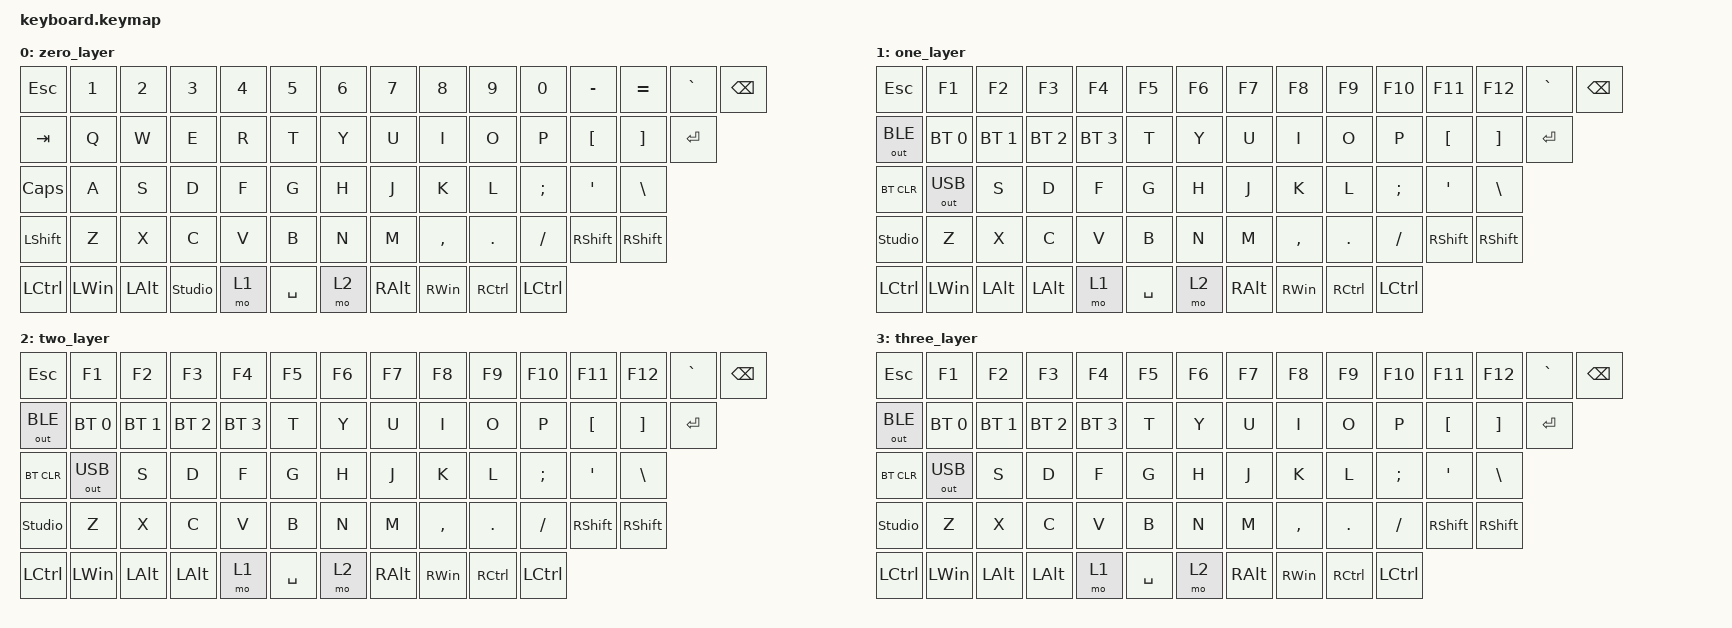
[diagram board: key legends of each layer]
#include <behaviors.dtsi>
#include <dt-bindings/zmk/keys.h>
#include <dt-bindings/zmk/bt.h>
#include <dt-bindings/zmk/outputs.h>
#include <dt-bindings/zmk/rgb.h>
#include <dt-bindings/zmk/ext_power.h>

#define HYPER(key) LS(LC(LA(LG(key))))
#define MEH(key)   LS(LC(LA(key)))

&sl {
release-after-ms = <5000>;
};


&kscan0 {
debounce-press-ms = <30>;
debounce-release-ms = <30>;
};
&soft_off {
    hold-time-ms = <5000>; // Only turn off it the key is held for 5 seconds or longer.
};
/ {
    keymap {
        compatible = "zmk,keymap";
        zero_layer {
            bindings = <
                &kp ESC   &kp N1   &kp N2   &kp N3          &kp N4 &kp N5   &kp N6    &kp N7   &kp N8    &kp N9    &kp N0    &kp MINUS  &kp EQUAL &kp GRAVE &kp BSPC
                &kp TAB   &kp Q    &kp W    &kp E           &kp R  &kp T    &kp Y     &kp U    &kp I     &kp O     &kp P     &kp LBKT   &kp RBKT  &kp RET
                &kp CAPS  &kp A    &kp S    &kp D           &kp F  &kp G    &kp H     &kp J    &kp K     &kp L     &kp SEMI  &kp SQT    &kp BSLH
                &kp LSHFT &kp Z    &kp X    &kp C           &kp V  &kp B    &kp N     &kp M    &kp COMMA &kp DOT   &kp FSLH  &kp RSHFT  &kp RSHFT
                &kp LCTRL &kp LWIN &kp LALT &studio_unlock  &mo 1 &kp SPACE &mo 2     &kp RALT &kp RWIN  &kp RCTRL &kp LCTRL
            >;
        };
        one_layer {
            bindings = <
                &kp ESC   &kp F1   &kp F2   &kp F3    &kp F4 &kp F5   &kp F6    &kp F7   &kp F8    &kp F9    &kp F10    &kp F11  &kp F12 &kp GRAVE &kp BSPC
                &out OUT_BLE   &bt BT_SEL 0 &bt BT_SEL 1 &bt BT_SEL 2 &bt BT_SEL 3  &kp T    &kp Y     &kp U    &kp I     &kp O     &kp P     &kp LBKT   &kp RBKT  &kp RET
                &bt BT_CLR  &out OUT_USB    &kp S    &kp D     &kp F  &kp G    &kp H     &kp J    &kp K     &kp L     &kp SEMI  &kp SQT    &kp BSLH
                &studio_unlock &kp Z    &kp X    &kp C     &kp V  &kp B    &kp N     &kp M    &kp COMMA &kp DOT   &kp FSLH  &kp RSHFT  &kp RSHFT
                &kp LCTRL &kp LWIN &kp LALT &kp LALT  &mo 1 &kp SPACE &mo 2     &kp RALT &kp RWIN  &kp RCTRL &kp LCTRL 
            >;
        };
        two_layer {
            bindings = <
                &kp ESC   &kp F1   &kp F2   &kp F3    &kp F4 &kp F5   &kp F6    &kp F7   &kp F8    &kp F9    &kp F10    &kp F11  &kp F12 &kp GRAVE &kp BSPC
                &out OUT_BLE   &bt BT_SEL 0 &bt BT_SEL 1 &bt BT_SEL 2 &bt BT_SEL 3  &kp T    &kp Y     &kp U    &kp I     &kp O     &kp P     &kp LBKT   &kp RBKT  &kp RET
                &bt BT_CLR  &out OUT_USB    &kp S    &kp D     &kp F  &kp G    &kp H     &kp J    &kp K     &kp L     &kp SEMI  &kp SQT    &kp BSLH
                &studio_unlock &kp Z    &kp X    &kp C     &kp V  &kp B    &kp N     &kp M    &kp COMMA &kp DOT   &kp FSLH  &kp RSHFT  &kp RSHFT
                &kp LCTRL &kp LWIN &kp LALT &kp LALT  &mo 1 &kp SPACE &mo 2     &kp RALT &kp RWIN  &kp RCTRL &kp LCTRL
            >;
        };
        three_layer {
            bindings = <
                &kp ESC   &kp F1   &kp F2   &kp F3    &kp F4 &kp F5   &kp F6    &kp F7   &kp F8    &kp F9    &kp F10    &kp F11  &kp F12 &kp GRAVE &kp BSPC
                &out OUT_BLE   &bt BT_SEL 0 &bt BT_SEL 1 &bt BT_SEL 2 &bt BT_SEL 3  &kp T    &kp Y     &kp U    &kp I     &kp O     &kp P     &kp LBKT   &kp RBKT  &kp RET
                &bt BT_CLR  &out OUT_USB    &kp S    &kp D     &kp F  &kp G    &kp H     &kp J    &kp K     &kp L     &kp SEMI  &kp SQT    &kp BSLH
                &studio_unlock &kp Z    &kp X    &kp C     &kp V  &kp B    &kp N     &kp M    &kp COMMA &kp DOT   &kp FSLH  &kp RSHFT  &kp RSHFT
                &kp LCTRL &kp LWIN &kp LALT &kp LALT  &mo 1 &kp SPACE &mo 2     &kp RALT &kp RWIN  &kp RCTRL &kp LCTRL
            >;
        };
    };
};
